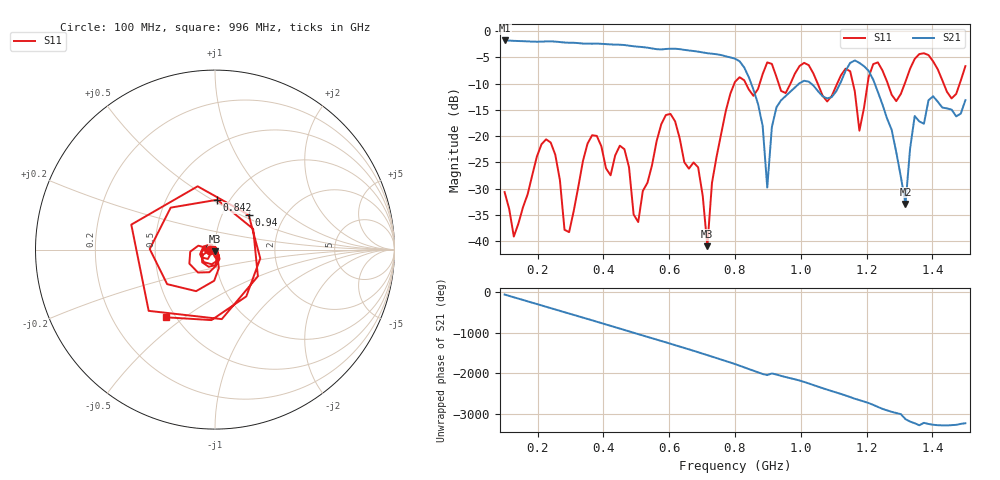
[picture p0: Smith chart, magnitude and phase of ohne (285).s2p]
! NanoVNA-App
! Date: 2025-09-25 14:23:01
! Start: 100MHz Stop: 1,5GHz Points: 101
! S-Parameter data: F S11 S21 S12 S22
# Hz S RI R 50
!  Frequency  S11_Real  S11_Imag  S21_Real  S21_Imag  S12_Real  S12_Imag  S22_Real  S22_Imag
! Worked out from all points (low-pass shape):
!   101 points, 100 MHz to 1.5 GHz, reference 50 ohm
!   highest |S21| = -1.79 dB at 100 MHz (marker M1); lowest = -32.9 dB at 1.318 GHz (marker M2)
!   |S21| within 3 dB of the highest: start of sweep to 771 MHz
!   lowest |S11| = -40.9 dB at 716 MHz (marker M3), VSWR 1.02, Z = 49.7 - j0.855 ohm
!   |S11| at or under -10 dB: start of sweep to 797.9 MHz; 833.1 MHz to 875 MHz (41.98 MHz wide, 4.92 % of centre); 1.051 GHz to 1.111 GHz (59.18 MHz wide, 5.48 % of centre) (the widest 3 of 7)
!   S12 and S22 are empty: the file has one direction only
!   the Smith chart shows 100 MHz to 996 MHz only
!   S11 on the Smith chart (normalised r, x): 100 MHz: 0.94, -0.01; 842 MHz: 0.88, +0.53; 940 MHz: 1.33, +0.56; 996 MHz: 0.45, -0.43
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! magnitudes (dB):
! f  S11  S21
! 100 MHz  -30.6  -1.8
! 128 MHz  -39.1  -1.9
! 226 MHz  -20.6  -2.0
! 296 MHz  -38.3  -2.2
! 338 MHz  -24.7  -2.4
! 464 MHz  -22.5  -2.7
! 506 MHz  -36.3  -3.0
! 576 MHz  -17.7  -3.5
! 688 MHz  -25.9  -3.9
! 716 MHz  -40.9  -4.2
! 800 MHz  -9.7  -5.3
! 842 MHz  -11.1  -8.8
! 898 MHz  -6.0  -29.8
! 940 MHz  -11.4  -13.2
! 996 MHz  -6.7  -9.9
! 1.038 GHz  -8.1  -10.3
! 1.178 GHz  -19.0  -6.1
! 1.22 GHz  -6.3  -9.3
! 1.276 GHz  -12.1  -18.8
! 1.318 GHz  -9.6  -32.9
! 1.346 GHz  -5.3  -16.2
! 1.5 GHz  -6.7  -13.1
